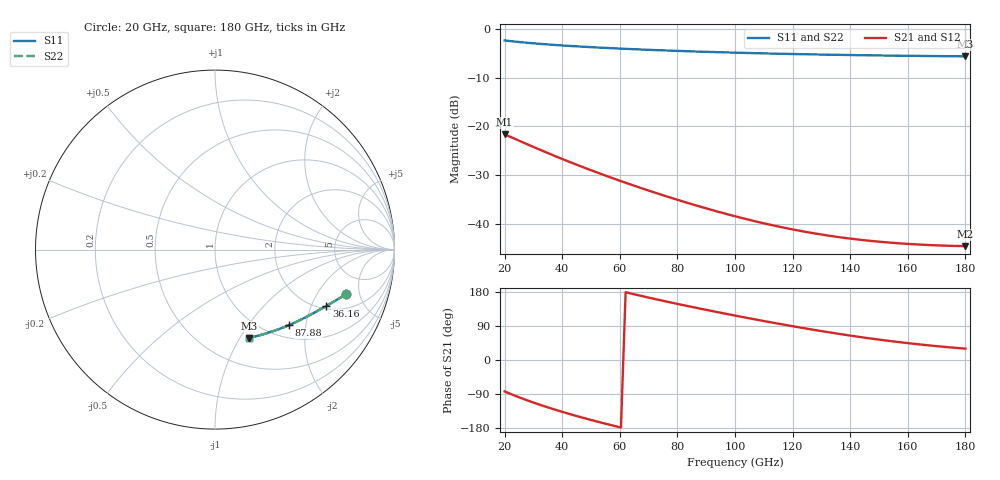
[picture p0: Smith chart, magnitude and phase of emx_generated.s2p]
! Touchstone simulation data from EMX version 6.1
! Sun Oct  5 01:02:34 2025
# Hz S RI R 50
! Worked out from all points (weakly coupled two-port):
!   100 points, 20 GHz to 180 GHz, reference 50 ohm
!   highest |S21| = -21.61 dB at 20 GHz (marker M1); lowest = -44.6 dB at 180 GHz (marker M2)
!   lowest |S11| = -5.6 dB at 180 GHz (marker M3), VSWR 3.23, Z = 40.2 - j54.8 ohm
!   |S11| at or under -10 dB: nowhere
!   |S22| runs from -5.6 to -2.3 dB; largest |S21 - S12| = 0
!   S11 on the Smith chart (normalised r, x): 20 GHz: 3.00, -3.65; 36.16 GHz: 2.13, -2.59; 87.88 GHz: 1.26, -1.62; 180 GHz: 0.80, -1.10
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2e10  0.7272 -0.2493  0.0103 -0.0824  0.0103 -0.0824  0.7272 -0.2493
2.323232e10  0.7018 -0.2659  -0.00398 -0.0753  -0.00398 -0.0753  0.7018 -0.2659
2.808081e10  0.668 -0.2862  -0.0191 -0.0623  -0.0191 -0.0623  0.668 -0.2862
3.616162e10  0.6206 -0.3135  -0.0316 -0.0407  -0.0316 -0.0407  0.6206 -0.3135
4.747475e10  0.5653 -0.3446  -0.0338 -0.0172  -0.0338 -0.0172  0.5653 -0.3446
6.040404e10  0.511 -0.3739  -0.0274 -0.00084  -0.0274 -0.00084  0.511 -0.3739
6.686869e10  0.4863 -0.3866  -0.0232 0.00402  -0.0232 0.00402  0.4863 -0.3866
7.494949e10  0.4571 -0.4006  -0.018 0.00786  -0.018 0.00786  0.4571 -0.4007
8.787879e10  0.414 -0.4199  -0.0107 0.0105  -0.0107 0.0105  0.414 -0.4199
9.434343e10  0.3939 -0.4283  -0.00771 0.0107  -0.00771 0.0107  0.3939 -0.4283
1.008081e11  0.3747 -0.4359  -0.00517 0.0105  -0.00517 0.0105  0.3746 -0.4359
1.072727e11  0.3562 -0.4429  -0.00304 0.0101  -0.00304 0.0101  0.3562 -0.4429
1.137374e11  0.3385 -0.4493  -0.00127 0.00943  -0.00127 0.00943  0.3385 -0.4493
1.20202e11  0.3215 -0.4551  0.000162 0.00869  0.000162 0.00869  0.3215 -0.4551
1.266667e11  0.3052 -0.4605  0.00132 0.00791  0.00132 0.00791  0.3052 -0.4605
1.331313e11  0.2894 -0.4655  0.00225 0.00712  0.00225 0.00712  0.2894 -0.4655
1.39596e11  0.2743 -0.4701  0.00298 0.00637  0.00298 0.00637  0.2742 -0.4701
1.460606e11  0.2596 -0.4743  0.00356 0.00566  0.00356 0.00566  0.2596 -0.4743
1.541414e11  0.242 -0.4792  0.0041 0.00486  0.0041 0.00486  0.242 -0.4792
1.606061e11  0.2284 -0.4827  0.00443 0.00428  0.00443 0.00428  0.2284 -0.4827
1.670707e11  0.2153 -0.486  0.00469 0.00377  0.00469 0.00377  0.2153 -0.486
1.8e11  0.1903 -0.4919  0.00507 0.00293  0.00507 0.00293  0.1903 -0.4919
